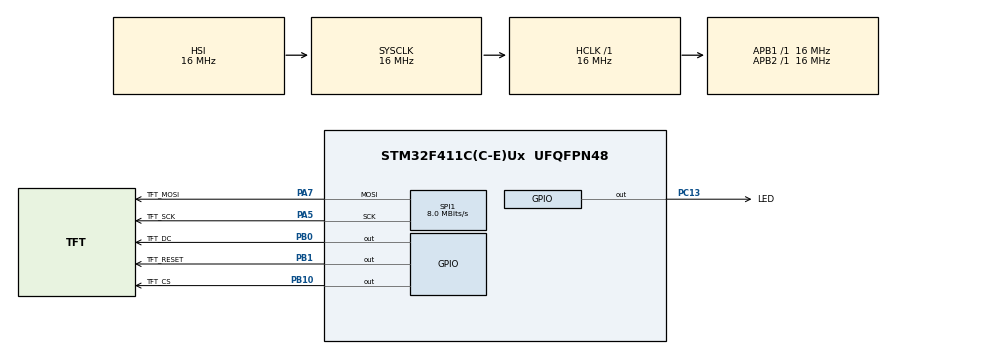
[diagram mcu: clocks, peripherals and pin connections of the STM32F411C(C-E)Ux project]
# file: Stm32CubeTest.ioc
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Dma.Request0=SPI1_TX
Dma.SPI1_TX.0.Direction=DMA_MEMORY_TO_PERIPH
Dma.SPI1_TX.0.FIFOMode=DMA_FIFOMODE_DISABLE
Dma.SPI1_TX.0.Instance=DMA2_Stream2
Dma.SPI1_TX.0.MemDataAlignment=DMA_MDATAALIGN_BYTE
Dma.SPI1_TX.0.MemInc=DMA_MINC_ENABLE
Dma.SPI1_TX.0.Mode=DMA_NORMAL
Dma.SPI1_TX.0.PeriphDataAlignment=DMA_PDATAALIGN_BYTE
Dma.SPI1_TX.0.PeriphInc=DMA_PINC_DISABLE
Dma.SPI1_TX.0.Priority=DMA_PRIORITY_VERY_HIGH
FREERTOS.Tasks01=defaultTask,0,128,StartDefaultTask,Default,NULL,Dynamic,NULL,NULL
Mcu.Family=STM32F4
Mcu.Name=STM32F411C(C-E)Ux
Mcu.Package=UFQFPN48
NVIC.DMA2_Stream2_IRQn=true\:5\:0\:false\:false\:true\:true\:false\:true\:true
NVIC.PriorityGroup=NVIC_PRIORITYGROUP_4
PA5.GPIO_Label=TFT_SCK
PA5.Mode=TX_Only_Simplex_Unidirect_Master
PA5.Signal=SPI1_SCK
PA6.GPIO_Label=TFT_MISO
PA6.Signal=SPI1_MISO
PA7.GPIO_Label=TFT_MOSI
PA7.Mode=TX_Only_Simplex_Unidirect_Master
PA7.Signal=SPI1_MOSI
PB0.GPIO_Label=TFT_DC
PB0.Signal=GPIO_Output
PB1.GPIO_Label=TFT_RESET
PB1.Signal=GPIO_Output
PB10.GPIO_Label=TFT_CS
PB10.Signal=GPIO_Output
PC13-ANTI_TAMP.GPIO_Label=LED
PC13-ANTI_TAMP.Signal=GPIO_Output
ProjectManager.HeapSize=0x200
ProjectManager.StackSize=0x400
ProjectManager.TargetToolchain=STM32CubeIDE
RCC.AHBFreq_Value=16000000
RCC.APB1Freq_Value=16000000
RCC.APB2Freq_Value=16000000
RCC.CortexFreq_Value=16000000
RCC.HSE_VALUE=25000000
RCC.HSI_VALUE=16000000
RCC.LSE_VALUE=32768
RCC.SYSCLKFreq_VALUE=16000000
RCC.VCOOutputFreq_Value=192000000
SPI1.CLKPolarity=SPI_POLARITY_LOW
SPI1.CalculateBaudRate=8.0 MBits/s
SPI1.Direction=SPI_DIRECTION_2LINES
SPI1.Mode=SPI_MODE_MASTER
SPI1.VirtualType=VM_MASTER
VP_FREERTOS_VS_CMSIS_V1.Mode=CMSIS_V1
board=custom

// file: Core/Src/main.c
/* USER CODE BEGIN Header */
/**
  ******************************************************************************
  * @file           : main.c
  * @brief          : Main program body
  ******************************************************************************
  * @attention
  *
  * Copyright (c) 2023 STMicroelectronics.
  * All rights reserved.
  *
  * This software is licensed under terms that can be found in the LICENSE file
  * in the root directory of this software component.
  * If no LICENSE file comes with this software, it is provided AS-IS.
  *
  ******************************************************************************
  */
/* USER CODE END Header */
#include "main.h"
#include "cmsis_os.h"

/* USER CODE BEGIN Includes */
#include <stdlib.h>
#include <stdio.h>

#include "ili9341_gfx.h"
#include "ili9341.h"
#include "boing.h"

// #include "ILI9341/ina260.h"

/* USER CODE END Includes */

SPI_HandleTypeDef hspi1;
DMA_HandleTypeDef hdma_spi1_tx;

osThreadId defaultTaskHandle;
/* USER CODE BEGIN PV */
osThreadId screenTaskHandle;
ili9341_t *_lcd;

/* USER CODE END PV */

void SystemClock_Config(void);
static void MX_GPIO_Init(void);
static void MX_DMA_Init(void);
static void MX_SPI1_Init(void);
void StartDefaultTask(void const * argument);

/* USER CODE BEGIN 0 */

void testScreenLines(ili9341_t *lcd)
{
  ili9341_fill_screen(lcd, ILI9341_BLACK);

  ili9341_color_t color;
  uint8_t wheel = 0U;

  for (int32_t i = 0; i < lcd->screen_size.height; i += 10)
    { color = ili9341_color_wheel(&wheel); wheel += 3;
      ili9341_draw_line(lcd, color, 0, 0, lcd->screen_size.width, i); }
  for (int32_t i = lcd->screen_size.width; i >= 0; i -= 10)
    { color = ili9341_color_wheel(&wheel); wheel += 3;
      ili9341_draw_line(lcd, color, 0, 0, i, lcd->screen_size.height); }

  osDelay(500);

  for (int32_t i = 0; i < lcd->screen_size.height; i += 10)
    { color = ili9341_color_wheel(&wheel); wheel += 3;
      ili9341_draw_line(lcd, color, lcd->screen_size.width, lcd->screen_size.height, 0, lcd->screen_size.height - i); }
  for (int32_t i = lcd->screen_size.width; i >= 0; i -= 10)
    { color = ili9341_color_wheel(&wheel); wheel += 3;
      ili9341_draw_line(lcd, color, lcd->screen_size.width, lcd->screen_size.height, lcd->screen_size.width - i, 0); }
}

static ili9341_bool_t _boingInitialized;
void testBoing(ili9341_t *lcd)
{
  static boing_ball_t ball;

  if (ibNOT(_boingInitialized)) {
    ili9341_draw_bitmap_1b(lcd, BOING_COLOR_PLOT_SHADOW, BOING_COLOR_PLOT_COLOR,
        0, 0, 320, 240, (uint8_t *)BOING_PLOT);
    _boingInitialized = ibTrue;

    boing_init(&ball);
  } else {
    boing(lcd, &ball);
  }
}

void ScreenTask(void const * argument)
{
  while(1) {
    testBoing(_lcd);
  }

    // testScreenLines(_lcd);
}

/* USER CODE END 0 */

int main(void)
{

  /* MCU Configuration--------------------------------------------------------*/

  /* Reset of all peripherals, Initializes the Flash interface and the Systick. */
  HAL_Init();

  /* Configure the system clock */
  SystemClock_Config();

  /* Initialize all configured peripherals */
  MX_GPIO_Init();
  MX_DMA_Init();
  MX_SPI1_Init();
  /* USER CODE BEGIN 2 */

 _lcd = ili9341_new(
      &hspi1,
      TFT_RESET_GPIO_Port, TFT_RESET_Pin,
      TFT_CS_GPIO_Port,    TFT_CS_Pin,
      TFT_DC_GPIO_Port,    TFT_DC_Pin,
      isoRight,
      NULL,  0,
      NULL, 0,
      itsNotSupported,
      itnNotNormalized
  );
  // ili9341_fill_screen(_lcd, ILI9341_RED);

  /* USER CODE END 2 */

  /* Create the thread(s) */
  /* definition and creation of defaultTask */
  osThreadDef(defaultTask, StartDefaultTask, osPriorityNormal, 0, 128);
  defaultTaskHandle = osThreadCreate(osThread(defaultTask), NULL);

  /* USER CODE BEGIN RTOS_THREADS */

  osThreadDef(screenTask, ScreenTask, osPriorityNormal, 0, 1024);
  screenTaskHandle = osThreadCreate(osThread(screenTask), NULL);

  /* add threads, ... */
  /* USER CODE END RTOS_THREADS */

  /* Start scheduler */
  osKernelStart();
  /* We should never get here as control is now taken by the scheduler */
  /* Infinite loop */
  /* USER CODE BEGIN WHILE */
  while (1)
  {
    // HAL_GPIO_TogglePin (LED_GPIO_Port, LED_Pin);
    // ili9341_fill_screen(_lcd, ILI9341_WHITE);

    // testScreenLines(_lcd);
    // HAL_Delay (1000);
    // ili9341_fill_screen(_lcd, ILI9341_RED);
    // HAL_Delay (1000);
    /* USER CODE END WHILE */

  }
}

void SystemClock_Config(void)
{
  RCC_OscInitTypeDef RCC_OscInitStruct = {0};
  RCC_ClkInitTypeDef RCC_ClkInitStruct = {0};

  /** Configure the main internal regulator output voltage
  */
  __HAL_RCC_PWR_CLK_ENABLE();
  __HAL_PWR_VOLTAGESCALING_CONFIG(PWR_REGULATOR_VOLTAGE_SCALE1);

  /** Initializes the RCC Oscillators according to the specified parameters
  * in the RCC_OscInitTypeDef structure.
  */
  RCC_OscInitStruct.OscillatorType = RCC_OSCILLATORTYPE_HSI;
  RCC_OscInitStruct.HSIState = RCC_HSI_ON;
  RCC_OscInitStruct.HSICalibrationValue = RCC_HSICALIBRATION_DEFAULT;
  RCC_OscInitStruct.PLL.PLLState = RCC_PLL_NONE;
  if (HAL_RCC_OscConfig(&RCC_OscInitStruct) != HAL_OK)
  {
    Error_Handler();
  }

  /** Initializes the CPU, AHB and APB buses clocks
  */
  RCC_ClkInitStruct.ClockType = RCC_CLOCKTYPE_HCLK|RCC_CLOCKTYPE_SYSCLK
                              |RCC_CLOCKTYPE_PCLK1|RCC_CLOCKTYPE_PCLK2;
  RCC_ClkInitStruct.SYSCLKSource = RCC_SYSCLKSOURCE_HSI;
  RCC_ClkInitStruct.AHBCLKDivider = RCC_SYSCLK_DIV1;
  RCC_ClkInitStruct.APB1CLKDivider = RCC_HCLK_DIV1;
  RCC_ClkInitStruct.APB2CLKDivider = RCC_HCLK_DIV1;

  if (HAL_RCC_ClockConfig(&RCC_ClkInitStruct, FLASH_LATENCY_0) != HAL_OK)
  {
    Error_Handler();
  }
}

static void MX_SPI1_Init(void)
{

  /* SPI1 parameter configuration*/
  hspi1.Instance = SPI1;
  hspi1.Init.Mode = SPI_MODE_MASTER;
  hspi1.Init.Direction = SPI_DIRECTION_2LINES;
  hspi1.Init.DataSize = SPI_DATASIZE_8BIT;
  hspi1.Init.CLKPolarity = SPI_POLARITY_LOW;
  hspi1.Init.CLKPhase = SPI_PHASE_1EDGE;
  hspi1.Init.NSS = SPI_NSS_SOFT;
  hspi1.Init.BaudRatePrescaler = SPI_BAUDRATEPRESCALER_2;
  hspi1.Init.FirstBit = SPI_FIRSTBIT_MSB;
  hspi1.Init.TIMode = SPI_TIMODE_DISABLE;
  hspi1.Init.CRCCalculation = SPI_CRCCALCULATION_DISABLE;
  hspi1.Init.CRCPolynomial = 10;
  if (HAL_SPI_Init(&hspi1) != HAL_OK)
  {
    Error_Handler();
  }

}

static void MX_DMA_Init(void)
{

  /* DMA controller clock enable */
  __HAL_RCC_DMA2_CLK_ENABLE();

  /* DMA interrupt init */
  /* DMA2_Stream2_IRQn interrupt configuration */
  HAL_NVIC_SetPriority(DMA2_Stream2_IRQn, 5, 0);
  HAL_NVIC_EnableIRQ(DMA2_Stream2_IRQn);

}

static void MX_GPIO_Init(void)
{
  GPIO_InitTypeDef GPIO_InitStruct = {0};

  /* GPIO Ports Clock Enable */
  __HAL_RCC_GPIOC_CLK_ENABLE();
  __HAL_RCC_GPIOA_CLK_ENABLE();
  __HAL_RCC_GPIOB_CLK_ENABLE();

  /*Configure GPIO pin Output Level */
  HAL_GPIO_WritePin(LED_GPIO_Port, LED_Pin, GPIO_PIN_RESET);

  /*Configure GPIO pin Output Level */
  HAL_GPIO_WritePin(GPIOB, TFT_DC_Pin|TFT_RESET_Pin|TFT_CS_Pin, GPIO_PIN_RESET);

  /*Configure GPIO pin : LED_Pin */
  GPIO_InitStruct.Pin = LED_Pin;
  GPIO_InitStruct.Mode = GPIO_MODE_OUTPUT_PP;
  GPIO_InitStruct.Pull = GPIO_NOPULL;
  GPIO_InitStruct.Speed = GPIO_SPEED_FREQ_LOW;
  HAL_GPIO_Init(LED_GPIO_Port, &GPIO_InitStruct);

  /*Configure GPIO pins : TFT_DC_Pin TFT_RESET_Pin TFT_CS_Pin */
  GPIO_InitStruct.Pin = TFT_DC_Pin|TFT_RESET_Pin|TFT_CS_Pin;
  GPIO_InitStruct.Mode = GPIO_MODE_OUTPUT_PP;
  GPIO_InitStruct.Pull = GPIO_NOPULL;
  GPIO_InitStruct.Speed = GPIO_SPEED_FREQ_LOW;
  HAL_GPIO_Init(GPIOB, &GPIO_InitStruct);

}

void StartDefaultTask(void const * argument)
{
  for(;;)
  {
    osDelay(1);
  }
}

void Error_Handler(void)
{
  __disable_irq();
  while (1)
  {
  }
}

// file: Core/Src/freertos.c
/* USER CODE BEGIN Header */
/**
  ******************************************************************************
  * File Name          : freertos.c
  * Description        : Code for freertos applications
  ******************************************************************************
  * @attention
  *
  * Copyright (c) 2023 STMicroelectronics.
  * All rights reserved.
  *
  * This software is licensed under terms that can be found in the LICENSE file
  * in the root directory of this software component.
  * If no LICENSE file comes with this software, it is provided AS-IS.
  *
  ******************************************************************************
  */
/* USER CODE END Header */

#include "FreeRTOS.h"
#include "task.h"
#include "main.h"

/* GetIdleTaskMemory prototype (linked to static allocation support) */
void vApplicationGetIdleTaskMemory( StaticTask_t **ppxIdleTaskTCBBuffer, StackType_t **ppxIdleTaskStackBuffer, uint32_t *pulIdleTaskStackSize );

/* USER CODE BEGIN GET_IDLE_TASK_MEMORY */
static StaticTask_t xIdleTaskTCBBuffer;
static StackType_t xIdleStack[configMINIMAL_STACK_SIZE];

void vApplicationGetIdleTaskMemory( StaticTask_t **ppxIdleTaskTCBBuffer, StackType_t **ppxIdleTaskStackBuffer, uint32_t *pulIdleTaskStackSize )
{
  *ppxIdleTaskTCBBuffer = &xIdleTaskTCBBuffer;
  *ppxIdleTaskStackBuffer = &xIdleStack[0];
  *pulIdleTaskStackSize = configMINIMAL_STACK_SIZE;
  /* place for user code */
}
/* USER CODE END GET_IDLE_TASK_MEMORY */
